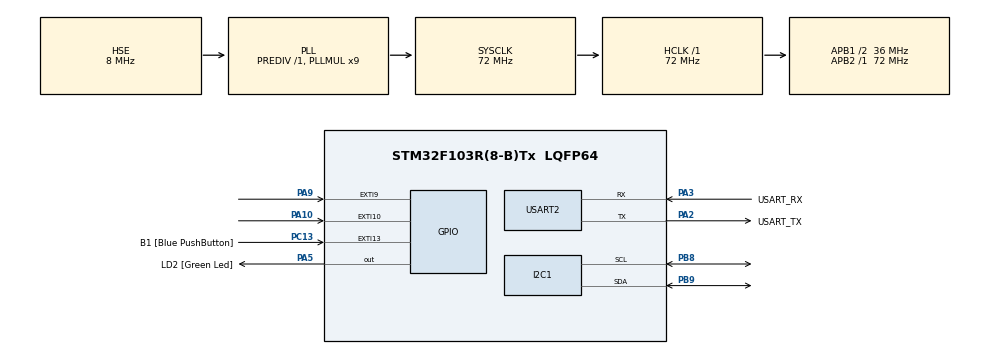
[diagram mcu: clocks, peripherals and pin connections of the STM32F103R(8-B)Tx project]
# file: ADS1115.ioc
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I2C1.I2C_Mode=I2C_Fast
Mcu.Family=STM32F1
Mcu.Name=STM32F103R(8-B)Tx
Mcu.Package=LQFP64
NVIC.EXTI15_10_IRQn=true\:0\:0\:false\:false\:true\:true\:true\:true
NVIC.EXTI9_5_IRQn=true\:0\:0\:false\:false\:true\:true\:true\:true
NVIC.PriorityGroup=NVIC_PRIORITYGROUP_4
PA10.GPIO_ModeDefaultEXTI=GPIO_MODE_IT_RISING
PA10.Signal=GPXTI10
PA13.GPIO_Label=TMS
PA13.Mode=Serial_Wire
PA13.Signal=SYS_JTMS-SWDIO
PA14.GPIO_Label=TCK
PA14.Mode=Serial_Wire
PA14.Signal=SYS_JTCK-SWCLK
PA2.GPIO_Label=USART_TX
PA2.GPIO_Mode=GPIO_MODE_AF_PP
PA2.GPIO_PuPd=GPIO_NOPULL
PA2.GPIO_Speed=GPIO_SPEED_FREQ_LOW
PA2.Mode=Asynchronous
PA2.Signal=USART2_TX
PA3.GPIO_Label=USART_RX
PA3.GPIO_Mode=GPIO_MODE_AF_PP
PA3.GPIO_PuPd=GPIO_NOPULL
PA3.GPIO_Speed=GPIO_SPEED_FREQ_LOW
PA3.Mode=Asynchronous
PA3.Signal=USART2_RX
PA5.GPIO_Label=LD2 [Green Led]
PA5.GPIO_ModeDefaultOutputPP=GPIO_MODE_OUTPUT_PP
PA5.GPIO_PuPd=GPIO_NOPULL
PA5.GPIO_Speed=GPIO_SPEED_FREQ_LOW
PA5.Signal=GPIO_Output
PA9.GPIO_ModeDefaultEXTI=GPIO_MODE_IT_FALLING
PA9.Signal=GPXTI9
PB3.GPIO_Label=SWO
PB3.Signal=SYS_JTDO-TRACESWO
PB8.GPIO_Pu=GPIO_PULLUP
PB8.Mode=I2C
PB8.Signal=I2C1_SCL
PB9.GPIO_Pu=GPIO_PULLUP
PB9.Mode=I2C
PB9.Signal=I2C1_SDA
PC13-TAMPER-RTC.GPIO_Label=B1 [Blue PushButton]
PC13-TAMPER-RTC.GPIO_PuPd=GPIO_NOPULL
PC13-TAMPER-RTC.Signal=GPXTI13
PC14-OSC32_IN.Mode=LSE-External-Oscillator
PC14-OSC32_IN.Signal=RCC_OSC32_IN
PC15-OSC32_OUT.Mode=LSE-External-Oscillator
PC15-OSC32_OUT.Signal=RCC_OSC32_OUT
PD0-OSC_IN.Mode=HSE-External-Oscillator
PD0-OSC_IN.Signal=RCC_OSC_IN
PD1-OSC_OUT.Mode=HSE-External-Oscillator
PD1-OSC_OUT.Signal=RCC_OSC_OUT
ProjectManager.HeapSize=0x200
ProjectManager.StackSize=0x400
ProjectManager.TargetToolchain=STM32CubeIDE
RCC.AHBFreq_Value=72000000
RCC.APB1CLKDivider=RCC_HCLK_DIV2
RCC.APB1Freq_Value=36000000
RCC.APB1TimFreq_Value=72000000
RCC.APB2Freq_Value=72000000
RCC.APB2TimFreq_Value=72000000
RCC.HCLKFreq_Value=72000000
RCC.PLLMUL=RCC_PLL_MUL9
RCC.PLLSourceVirtual=RCC_PLLSOURCE_HSE
RCC.RTCClockSelection=RCC_RTCCLKSOURCE_LSE
RCC.SYSCLKFreq_VALUE=72000000
RCC.SYSCLKSource=RCC_SYSCLKSOURCE_PLLCLK
RCC.USBFreq_Value=72000000
USART2.VirtualMode=VM_ASYNC
board=NUCLEO-F103RB

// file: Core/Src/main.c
/* USER CODE BEGIN Header */
/**
  ******************************************************************************
  * @file           : main.c
  * @brief          : Main program body
  ******************************************************************************
  * @attention
  *
  * <h2><center>&copy; Copyright (c) 2021 STMicroelectronics.
  * All rights reserved.</center></h2>
  *
  * This software component is licensed by ST under BSD 3-Clause license,
  * the "License"; You may not use this file except in compliance with the
  * License. You may obtain a copy of the License at:
  *                        opensource.org/licenses/BSD-3-Clause
  *
  ******************************************************************************
  */
/* USER CODE END Header */
#include "main.h"
#include "i2c.h"
#include "usart.h"
#include "gpio.h"

/* USER CODE BEGIN Includes */
#include "ADS1115.h"
/* USER CODE END Includes */

void SystemClock_Config(void);

/* USER CODE BEGIN 0 */
//#define ADS1115_ADR (0x48 << 1)
#define ADS1115_ADR 0x48
uint8_t ADSWrite[6];
int16_t readValue;
float voltValue;
float voltProbes[256];
static uint16_t probeNum;
const float voltageConv = 6.114 / 32768.0f;

ADS1115_Config_t configReg;
ADS1115_Handle_t *pADS;

static uint8_t isCountinousModeRunning = 0;
// EXTI Line9 External Interrupt ISR Handler CallBackFun
void HAL_GPIO_EXTI_Callback(uint16_t GPIO_Pin)
{
	if (GPIO_Pin == GPIO_PIN_10) // If The INT Source Is EXTI Line9 (A9 Pin)
	{
		int16_t readValue = ADS1115_getData(pADS);
		voltValue = readValue * voltageConv;
		probeNum++;
	}

	if (GPIO_Pin == GPIO_PIN_13){
		if(isCountinousModeRunning){
			isCountinousModeRunning = 0;
			ADS1115_stopContinousMode(pADS);
		}else{
			isCountinousModeRunning = 1;
			ADS1115_startContinousMode(pADS);
		}

	}
}
/* USER CODE END 0 */

int main(void)
{

  /* MCU Configuration--------------------------------------------------------*/

  /* Reset of all peripherals, Initializes the Flash interface and the Systick. */
  HAL_Init();

  /* Configure the system clock */
  SystemClock_Config();

  /* Initialize all configured peripherals */
  MX_GPIO_Init();
  MX_USART2_UART_Init();
  MX_I2C1_Init();
  /* USER CODE BEGIN 2 */

  configReg.channel = CHANNEL_AIN0_GND;
  configReg.pgaConfig = PGA_6_144;
  configReg.operatingMode = MODE_SINGLE_SHOT;
  configReg.dataRate = DRATE_475;
  configReg.compareMode = COMP_HYSTERESIS;
  configReg.polarityMode = POLARITY_ACTIVE_LOW;
  configReg.latchingMode = LATCHING_NONE;
  configReg.queueComparator = QUEUE_ONE;
  pADS = ADS1115_init(&hi2c1, ADS1115_ADR, configReg);
  ADS1115_updateConfig(pADS, configReg);
  ADS1115_setConversionReadyPin(pADS);
  /* USER CODE END 2 */

  /* Infinite loop */
  while (1)
  {

    /* USER CODE BEGIN 3 */
	  probeNum = 0;
	  ADS1115_startContinousMode(pADS);
	  HAL_Delay(1000);
	  ADS1115_stopContinousMode(pADS);
	  HAL_Delay(1000);

  }
  /* USER CODE END 3 */
}

void SystemClock_Config(void)
{
  RCC_OscInitTypeDef RCC_OscInitStruct = {0};
  RCC_ClkInitTypeDef RCC_ClkInitStruct = {0};

  /** Initializes the RCC Oscillators according to the specified parameters
  * in the RCC_OscInitTypeDef structure.
  */
  RCC_OscInitStruct.OscillatorType = RCC_OSCILLATORTYPE_HSE;
  RCC_OscInitStruct.HSEState = RCC_HSE_ON;
  RCC_OscInitStruct.HSEPredivValue = RCC_HSE_PREDIV_DIV1;
  RCC_OscInitStruct.HSIState = RCC_HSI_ON;
  RCC_OscInitStruct.PLL.PLLState = RCC_PLL_ON;
  RCC_OscInitStruct.PLL.PLLSource = RCC_PLLSOURCE_HSE;
  RCC_OscInitStruct.PLL.PLLMUL = RCC_PLL_MUL9;
  if (HAL_RCC_OscConfig(&RCC_OscInitStruct) != HAL_OK)
  {
    Error_Handler();
  }

  /** Initializes the CPU, AHB and APB buses clocks
  */
  RCC_ClkInitStruct.ClockType = RCC_CLOCKTYPE_HCLK|RCC_CLOCKTYPE_SYSCLK
                              |RCC_CLOCKTYPE_PCLK1|RCC_CLOCKTYPE_PCLK2;
  RCC_ClkInitStruct.SYSCLKSource = RCC_SYSCLKSOURCE_PLLCLK;
  RCC_ClkInitStruct.AHBCLKDivider = RCC_SYSCLK_DIV1;
  RCC_ClkInitStruct.APB1CLKDivider = RCC_HCLK_DIV2;
  RCC_ClkInitStruct.APB2CLKDivider = RCC_HCLK_DIV1;

  if (HAL_RCC_ClockConfig(&RCC_ClkInitStruct, FLASH_LATENCY_2) != HAL_OK)
  {
    Error_Handler();
  }
}

void Error_Handler(void)
{
}
